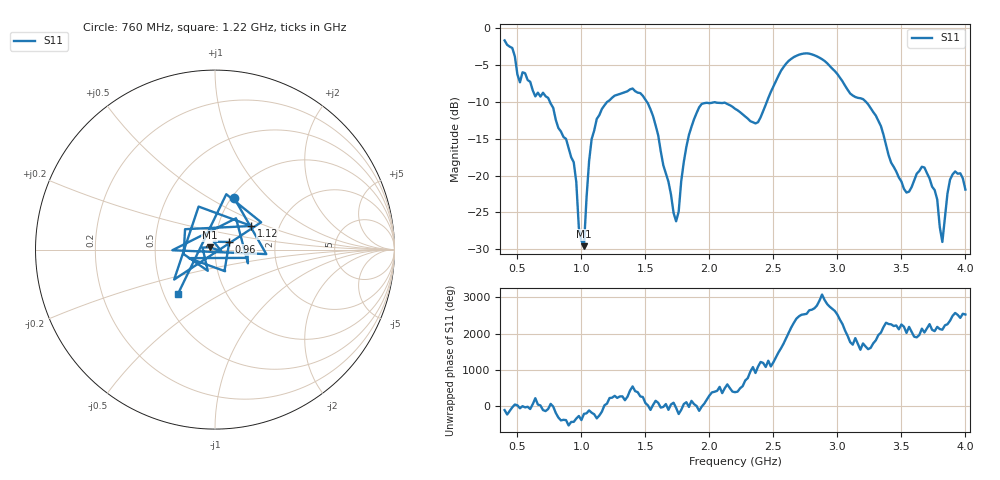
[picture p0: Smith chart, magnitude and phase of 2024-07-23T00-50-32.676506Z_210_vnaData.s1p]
!Created with skrf (http://scikit-rf.org).
# Hz S RI R 50.0
!freq ReS11 ImS11
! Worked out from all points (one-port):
!   181 points, 400 MHz to 4 GHz, reference 50 ohm
!   lowest |S11| = -29.6 dB at 1.02 GHz (marker M1), VSWR 1.07, Z = 47 + j1.26 ohm
!   |S11| at or under -10 dB: 753.5 MHz to 1.203 GHz (449.8 MHz wide, 46 % of centre); 1.511 GHz to 2.449 GHz (938.4 MHz wide, 47.4 % of centre); 3.222 GHz to end of sweep
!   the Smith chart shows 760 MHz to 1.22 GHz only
!   S11 on the Smith chart (normalised r, x): 760 MHz: 1.03, +0.65; 960 MHz: 1.17, +0.10; 1.12 GHz: 1.44, +0.40; 1.22 GHz: 0.59, -0.33
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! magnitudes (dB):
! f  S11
! 400 MHz  -1.7
! 520 MHz  -7.4
! 760 MHz  -10.3
! 860 MHz  -14.8
! 960 MHz  -20.9
! 980 MHz  -27.1
! 1.02 GHz  -29.6
! 1.06 GHz  -18.1
! 1.12 GHz  -12.3
! 1.22 GHz  -9.8
! 1.3 GHz  -9.0
! 1.52 GHz  -10.2
! 1.72 GHz  -25.1
! 1.76 GHz  -24.9
! 1.82 GHz  -16.1
! 1.92 GHz  -10.8
! 2.2 GHz  -11.0
! 2.38 GHz  -12.8
! 2.66 GHz  -3.9
! 2.88 GHz  -4.2
! 3.1 GHz  -8.9
! 3.3 GHz  -11.9
! 3.56 GHz  -22.2
! 3.68 GHz  -18.9
! 3.78 GHz  -23.3
! 3.82 GHz  -29.0
! 3.88 GHz  -20.6
! 4 GHz  -21.9
